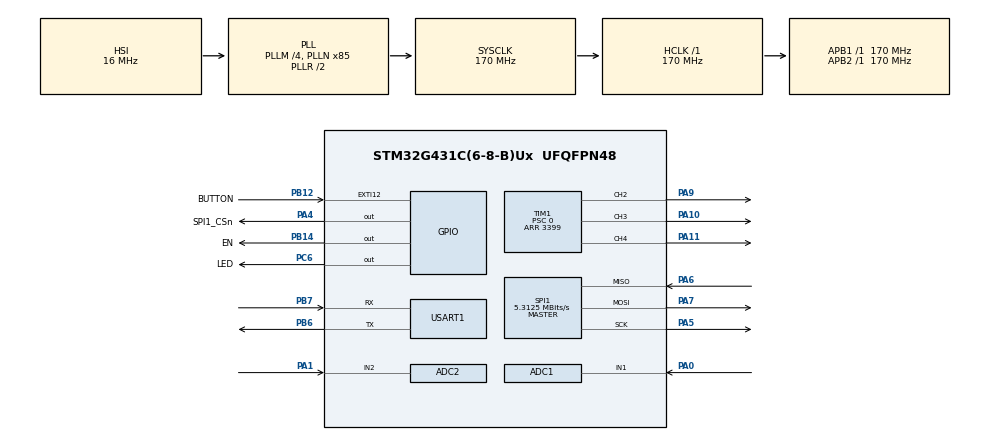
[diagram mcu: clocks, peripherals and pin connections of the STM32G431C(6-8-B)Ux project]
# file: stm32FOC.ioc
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ADC1.Channel-0\#ChannelRegularConversion=ADC_CHANNEL_1
ADC1.ContinuousConvMode=ENABLE
ADC1.DMAContinuousRequests=ENABLE
ADC1.NbrOfConversionFlag=1
ADC1.OffsetNumber-0\#ChannelRegularConversion=ADC_OFFSET_NONE
ADC1.Rank-0\#ChannelRegularConversion=1
ADC1.SamplingTime-0\#ChannelRegularConversion=ADC_SAMPLETIME_2CYCLES_5
ADC1.master=1
ADC2.Channel-0\#ChannelRegularConversion=ADC_CHANNEL_2
ADC2.ContinuousConvMode=ENABLE
ADC2.DMAContinuousRequests=ENABLE
ADC2.NbrOfConversionFlag=1
ADC2.OffsetNumber-0\#ChannelRegularConversion=ADC_OFFSET_NONE
ADC2.Rank-0\#ChannelRegularConversion=1
ADC2.SamplingTime-0\#ChannelRegularConversion=ADC_SAMPLETIME_2CYCLES_5
Dma.ADC1.3.Direction=DMA_PERIPH_TO_MEMORY
Dma.ADC1.3.EventEnable=DISABLE
Dma.ADC1.3.Instance=DMA1_Channel5
Dma.ADC1.3.MemDataAlignment=DMA_MDATAALIGN_HALFWORD
Dma.ADC1.3.MemInc=DMA_MINC_ENABLE
Dma.ADC1.3.Mode=DMA_CIRCULAR
Dma.ADC1.3.PeriphDataAlignment=DMA_PDATAALIGN_HALFWORD
Dma.ADC1.3.PeriphInc=DMA_PINC_DISABLE
Dma.ADC1.3.Polarity=HAL_DMAMUX_REQ_GEN_RISING
Dma.ADC1.3.Priority=DMA_PRIORITY_HIGH
Dma.ADC1.3.RequestNumber=1
Dma.ADC1.3.SignalID=NONE
Dma.ADC1.3.SyncEnable=DISABLE
Dma.ADC1.3.SyncPolarity=HAL_DMAMUX_SYNC_NO_EVENT
Dma.ADC1.3.SyncRequestNumber=1
Dma.ADC1.3.SyncSignalID=NONE
Dma.ADC2.2.Direction=DMA_PERIPH_TO_MEMORY
Dma.ADC2.2.EventEnable=DISABLE
Dma.ADC2.2.Instance=DMA1_Channel4
Dma.ADC2.2.MemDataAlignment=DMA_MDATAALIGN_HALFWORD
Dma.ADC2.2.MemInc=DMA_MINC_ENABLE
Dma.ADC2.2.Mode=DMA_CIRCULAR
Dma.ADC2.2.PeriphDataAlignment=DMA_PDATAALIGN_HALFWORD
Dma.ADC2.2.PeriphInc=DMA_PINC_DISABLE
Dma.ADC2.2.Polarity=HAL_DMAMUX_REQ_GEN_RISING
Dma.ADC2.2.Priority=DMA_PRIORITY_HIGH
Dma.ADC2.2.RequestNumber=1
Dma.ADC2.2.SignalID=NONE
Dma.ADC2.2.SyncEnable=DISABLE
Dma.ADC2.2.SyncPolarity=HAL_DMAMUX_SYNC_NO_EVENT
Dma.ADC2.2.SyncRequestNumber=1
Dma.ADC2.2.SyncSignalID=NONE
Dma.Request0=USART1_RX
Dma.Request1=USART1_TX
Dma.Request2=ADC2
Dma.Request3=ADC1
Dma.USART1_RX.0.Direction=DMA_PERIPH_TO_MEMORY
Dma.USART1_RX.0.EventEnable=DISABLE
Dma.USART1_RX.0.Instance=DMA1_Channel1
Dma.USART1_RX.0.MemDataAlignment=DMA_MDATAALIGN_BYTE
Dma.USART1_RX.0.MemInc=DMA_MINC_ENABLE
Dma.USART1_RX.0.Mode=DMA_NORMAL
Dma.USART1_RX.0.PeriphDataAlignment=DMA_PDATAALIGN_BYTE
Dma.USART1_RX.0.PeriphInc=DMA_PINC_DISABLE
Dma.USART1_RX.0.Polarity=HAL_DMAMUX_REQ_GEN_RISING
Dma.USART1_RX.0.Priority=DMA_PRIORITY_LOW
Dma.USART1_RX.0.RequestNumber=1
Dma.USART1_RX.0.SignalID=NONE
Dma.USART1_RX.0.SyncEnable=DISABLE
Dma.USART1_RX.0.SyncPolarity=HAL_DMAMUX_SYNC_NO_EVENT
Dma.USART1_RX.0.SyncRequestNumber=1
Dma.USART1_RX.0.SyncSignalID=NONE
Dma.USART1_TX.1.Direction=DMA_MEMORY_TO_PERIPH
Dma.USART1_TX.1.EventEnable=DISABLE
Dma.USART1_TX.1.Instance=DMA1_Channel2
Dma.USART1_TX.1.MemDataAlignment=DMA_MDATAALIGN_BYTE
Dma.USART1_TX.1.MemInc=DMA_MINC_ENABLE
Dma.USART1_TX.1.Mode=DMA_NORMAL
Dma.USART1_TX.1.PeriphDataAlignment=DMA_PDATAALIGN_BYTE
Dma.USART1_TX.1.PeriphInc=DMA_PINC_DISABLE
Dma.USART1_TX.1.Polarity=HAL_DMAMUX_REQ_GEN_RISING
Dma.USART1_TX.1.Priority=DMA_PRIORITY_LOW
Dma.USART1_TX.1.RequestNumber=1
Dma.USART1_TX.1.SignalID=NONE
Dma.USART1_TX.1.SyncEnable=ENABLE
Dma.USART1_TX.1.SyncPolarity=HAL_DMAMUX_SYNC_RISING
Dma.USART1_TX.1.SyncRequestNumber=1
Dma.USART1_TX.1.SyncSignalID=NONE
Mcu.Family=STM32G4
Mcu.Name=STM32G431C(6-8-B)Ux
Mcu.Package=UFQFPN48
NVIC.ADC1_2_IRQn=true\:0\:0\:false\:false\:true\:true\:true\:true
NVIC.DMA1_Channel1_IRQn=true\:0\:0\:false\:false\:true\:false\:true\:true
NVIC.DMA1_Channel2_IRQn=true\:0\:0\:false\:false\:true\:false\:true\:true
NVIC.DMAMUX_OVR_IRQn=true\:0\:0\:false\:false\:true\:false\:true\:true
NVIC.EXTI15_10_IRQn=true\:0\:0\:false\:false\:true\:true\:true\:true
NVIC.PriorityGroup=NVIC_PRIORITYGROUP_4
NVIC.TIM2_IRQn=true\:0\:0\:false\:false\:true\:true\:true\:true
NVIC.TIM3_IRQn=true\:0\:0\:false\:false\:true\:true\:true\:true
NVIC.USART1_IRQn=true\:0\:0\:false\:false\:true\:true\:true\:true
PA0.Mode=IN1-Single-Ended
PA0.Signal=ADC1_IN1
PA1.Mode=IN2-Single-Ended
PA1.Signal=ADC2_IN2
PA10.Signal=S_TIM1_CH3
PA11.Signal=S_TIM1_CH4
PA4.GPIO_Label=SPI1_CSn
PA4.GPIO_PuPd=GPIO_NOPULL
PA4.GPIO_Speed=GPIO_SPEED_FREQ_MEDIUM
PA4.PinState=GPIO_PIN_RESET
PA4.Signal=GPIO_Output
PA5.Mode=Full_Duplex_Master
PA5.Signal=SPI1_SCK
PA6.Mode=Full_Duplex_Master
PA6.Signal=SPI1_MISO
PA7.Mode=Full_Duplex_Master
PA7.Signal=SPI1_MOSI
PA9.Signal=S_TIM1_CH2
PB12.GPIO_Label=BUTTON
PB12.GPIO_ModeDefaultEXTI=GPIO_MODE_IT_FALLING
PB12.GPIO_PuPd=GPIO_PULLUP
PB12.Signal=GPXTI12
PB14.GPIO_Label=EN
PB14.Signal=GPIO_Output
PB6.Mode=Asynchronous
PB6.Signal=USART1_TX
PB7.Mode=Asynchronous
PB7.Signal=USART1_RX
PC6.GPIO_Label=LED
PC6.Signal=GPIO_Output
PF0-OSC_IN.Mode=HSE-External-Oscillator
PF0-OSC_IN.Signal=RCC_OSC_IN
PF1-OSC_OUT.Mode=HSE-External-Oscillator
PF1-OSC_OUT.Signal=RCC_OSC_OUT
ProjectManager.HeapSize=0x200
ProjectManager.StackSize=0x400
ProjectManager.TargetToolchain=STM32CubeIDE
RCC.ADC12Freq_Value=170000000
RCC.AHBFreq_Value=170000000
RCC.APB1Freq_Value=170000000
RCC.APB1TimFreq_Value=170000000
RCC.APB2Freq_Value=170000000
RCC.APB2TimFreq_Value=170000000
RCC.CortexFreq_Value=170000000
RCC.EXTERNAL_CLOCK_VALUE=12288000
RCC.HCLKFreq_Value=170000000
RCC.HSE_VALUE=8000000
RCC.HSI48_VALUE=48000000
RCC.HSI_VALUE=16000000
RCC.LSE_VALUE=32768
RCC.PLLM=RCC_PLLM_DIV4
RCC.PLLN=85
RCC.SYSCLKFreq_VALUE=170000000
RCC.SYSCLKSource=RCC_SYSCLKSOURCE_PLLCLK
RCC.USBFreq_Value=170000000
RCC.VCOOutputFreq_Value=340000000
SH.S_TIM1_CH2.0=TIM1_CH2,PWM Generation2 CH2
SH.S_TIM1_CH3.0=TIM1_CH3,PWM Generation3 CH3
SH.S_TIM1_CH4.0=TIM1_CH4,PWM Generation4 CH4
SPI1.BaudRatePrescaler=SPI_BAUDRATEPRESCALER_32
SPI1.CLKPhase=SPI_PHASE_2EDGE
SPI1.CalculateBaudRate=5.3125 MBits/s
SPI1.DataSize=SPI_DATASIZE_16BIT
SPI1.Direction=SPI_DIRECTION_2LINES
SPI1.Mode=SPI_MODE_MASTER
SPI1.VirtualType=VM_MASTER
TIM1.Channel-PWM\ Generation2\ CH2=TIM_CHANNEL_2
TIM1.Channel-PWM\ Generation3\ CH3=TIM_CHANNEL_3
TIM1.Channel-PWM\ Generation4\ CH4=TIM_CHANNEL_4
TIM1.CounterMode=TIM_COUNTERMODE_CENTERALIGNED1
TIM1.PeriodNoDither=3399
TIM1.Prescaler=0
TIM1.PulseNoDither_2=3400
TIM1.PulseNoDither_3=3400
TIM1.RepetitionCounter=100
TIM2.PeriodNoDither=99
TIM2.Prescaler=16
TIM3.PeriodNoDither=2999
TIM3.Prescaler=13399
USART1.ClockPrescaler=PRESCALER_DIV1
USART1.FIFOMode=FIFOMODE_DISABLE
USART1.RXFIFOThreshold=RXFIFO_THRESHOLD_1EIGHTHFULL
USART1.TXFIFOThreshold=TXFIFO_THRESHOLD_1EIGHTHFULL
USART1.VirtualMode-Asynchronous=VM_ASYNC
VP_CORDIC_VS_CORDIC.Mode=CORDIC_Activate
VP_SYS_VS_DBSignals.Mode=DisableDeadBatterySignals
VP_TIM1_VS_ClockSourceINT.Mode=Internal
VP_TIM2_VS_ClockSourceINT.Mode=Internal
VP_TIM3_VS_ClockSourceINT.Mode=Internal
board=custom

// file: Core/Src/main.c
/* USER CODE BEGIN Header */
/**
  ******************************************************************************
  * @file           : main.c
  * @brief          : Main program body
  ******************************************************************************
  * @attention
  *
  * Copyright (c) 2024 STMicroelectronics.
  * All rights reserved.
  *
  * This software is licensed under terms that can be found in the LICENSE file
  * in the root directory of this software component.
  * If no LICENSE file comes with this software, it is provided AS-IS.
  *
  ******************************************************************************
  */
/* USER CODE END Header */
#include "main.h"

/* USER CODE BEGIN Includes */
#include "FOC.h"
/* USER CODE END Includes */

ADC_HandleTypeDef hadc1;
ADC_HandleTypeDef hadc2;
DMA_HandleTypeDef hdma_adc1;
DMA_HandleTypeDef hdma_adc2;

CORDIC_HandleTypeDef hcordic;

SPI_HandleTypeDef hspi1;

TIM_HandleTypeDef htim1;
TIM_HandleTypeDef htim2;
TIM_HandleTypeDef htim3;

UART_HandleTypeDef huart1;
DMA_HandleTypeDef hdma_usart1_rx;
DMA_HandleTypeDef hdma_usart1_tx;

void SystemClock_Config(void);
static void MX_GPIO_Init(void);
static void MX_DMA_Init(void);
static void MX_USART1_UART_Init(void);
static void MX_TIM1_Init(void);
static void MX_TIM2_Init(void);
static void MX_ADC1_Init(void);
static void MX_ADC2_Init(void);
static void MX_TIM3_Init(void);
static void MX_CORDIC_Init(void);
static void MX_SPI1_Init(void);

/* USER CODE BEGIN 0 */
uint32_t FLAG = 0;
uint32_t UART_FLAG = 0;
uint32_t UART_i = 0;
uint32_t BUT_FLAG = 0;
HAL_StatusTypeDef st;

struct Motor m;
struct SentData sentData;
struct RefData refData;
/* USER CODE END 0 */

int main(void)
{

  /* MCU Configuration--------------------------------------------------------*/

  /* Reset of all peripherals, Initializes the Flash interface and the Systick. */
  HAL_Init();

  /* Configure the system clock */
  SystemClock_Config();

  /* Initialize all configured peripherals */
  MX_GPIO_Init();
  MX_DMA_Init();
  MX_USART1_UART_Init();
  MX_TIM1_Init();
  MX_TIM2_Init();
  MX_ADC1_Init();
  MX_ADC2_Init();
  MX_TIM3_Init();
  MX_CORDIC_Init();
  MX_SPI1_Init();
  /* USER CODE BEGIN 2 */
  sentData.header = *(int32_t*)"XXXX";
  sentData.terminator = *(int32_t*)"EEEE";

  HAL_GPIO_WritePin(EN_GPIO_Port, EN_Pin, 1);

  HAL_TIM_Base_Start_IT(&htim2);
  HAL_TIM_PWM_Start(&htim1, TIM_CHANNEL_2);
  HAL_TIM_PWM_Start(&htim1, TIM_CHANNEL_3);
  HAL_TIM_PWM_Start(&htim1, TIM_CHANNEL_4);

  st = HAL_ADC_Start_DMA(&hadc1, (uint32_t *)(m.adcData), 1);
  st = HAL_ADC_Start_DMA(&hadc2, (uint32_t *)(m.adcData+1), 1);
  InitMotor(&m, &hcordic);
  /* USER CODE END 2 */

  /* Infinite loop */
  /* USER CODE BEGIN WHILE */
  while (1)
  {
	if(FLAG){
		mainLoop(&m);
		FLAG = 0;
	}
	if(UART_FLAG){
		sendByUart(&m, &sentData);      // getByUart(&m, &refData);
		UART_FLAG = 0;
	}
	if(BUT_FLAG){
		HAL_GPIO_TogglePin(LED_GPIO_Port, LED_Pin);
		changeAngle(&m);
		BUT_FLAG = 0;
	}
    /* USER CODE END WHILE */

  }
}

void SystemClock_Config(void)
{
  RCC_OscInitTypeDef RCC_OscInitStruct = {0};
  RCC_ClkInitTypeDef RCC_ClkInitStruct = {0};

  /** Configure the main internal regulator output voltage
  */
  HAL_PWREx_ControlVoltageScaling(PWR_REGULATOR_VOLTAGE_SCALE1_BOOST);

  /** Initializes the RCC Oscillators according to the specified parameters
  * in the RCC_OscInitTypeDef structure.
  */
  RCC_OscInitStruct.OscillatorType = RCC_OSCILLATORTYPE_HSI;
  RCC_OscInitStruct.HSIState = RCC_HSI_ON;
  RCC_OscInitStruct.HSICalibrationValue = RCC_HSICALIBRATION_DEFAULT;
  RCC_OscInitStruct.PLL.PLLState = RCC_PLL_ON;
  RCC_OscInitStruct.PLL.PLLSource = RCC_PLLSOURCE_HSI;
  RCC_OscInitStruct.PLL.PLLM = RCC_PLLM_DIV4;
  RCC_OscInitStruct.PLL.PLLN = 85;
  RCC_OscInitStruct.PLL.PLLP = RCC_PLLP_DIV2;
  RCC_OscInitStruct.PLL.PLLQ = RCC_PLLQ_DIV2;
  RCC_OscInitStruct.PLL.PLLR = RCC_PLLR_DIV2;
  if (HAL_RCC_OscConfig(&RCC_OscInitStruct) != HAL_OK)
  {
    Error_Handler();
  }

  /** Initializes the CPU, AHB and APB buses clocks
  */
  RCC_ClkInitStruct.ClockType = RCC_CLOCKTYPE_HCLK|RCC_CLOCKTYPE_SYSCLK
                              |RCC_CLOCKTYPE_PCLK1|RCC_CLOCKTYPE_PCLK2;
  RCC_ClkInitStruct.SYSCLKSource = RCC_SYSCLKSOURCE_PLLCLK;
  RCC_ClkInitStruct.AHBCLKDivider = RCC_SYSCLK_DIV1;
  RCC_ClkInitStruct.APB1CLKDivider = RCC_HCLK_DIV1;
  RCC_ClkInitStruct.APB2CLKDivider = RCC_HCLK_DIV1;

  if (HAL_RCC_ClockConfig(&RCC_ClkInitStruct, FLASH_LATENCY_4) != HAL_OK)
  {
    Error_Handler();
  }
}

static void MX_ADC1_Init(void)
{

  ADC_MultiModeTypeDef multimode = {0};
  ADC_ChannelConfTypeDef sConfig = {0};

  /** Common config
  */
  hadc1.Instance = ADC1;
  hadc1.Init.ClockPrescaler = ADC_CLOCK_SYNC_PCLK_DIV4;
  hadc1.Init.Resolution = ADC_RESOLUTION_12B;
  hadc1.Init.DataAlign = ADC_DATAALIGN_RIGHT;
  hadc1.Init.GainCompensation = 0;
  hadc1.Init.ScanConvMode = ADC_SCAN_DISABLE;
  hadc1.Init.EOCSelection = ADC_EOC_SINGLE_CONV;
  hadc1.Init.LowPowerAutoWait = DISABLE;
  hadc1.Init.ContinuousConvMode = ENABLE;
  hadc1.Init.NbrOfConversion = 1;
  hadc1.Init.DiscontinuousConvMode = DISABLE;
  hadc1.Init.ExternalTrigConv = ADC_SOFTWARE_START;
  hadc1.Init.ExternalTrigConvEdge = ADC_EXTERNALTRIGCONVEDGE_NONE;
  hadc1.Init.DMAContinuousRequests = ENABLE;
  hadc1.Init.Overrun = ADC_OVR_DATA_PRESERVED;
  hadc1.Init.OversamplingMode = DISABLE;
  if (HAL_ADC_Init(&hadc1) != HAL_OK)
  {
    Error_Handler();
  }

  /** Configure the ADC multi-mode
  */
  multimode.Mode = ADC_MODE_INDEPENDENT;
  if (HAL_ADCEx_MultiModeConfigChannel(&hadc1, &multimode) != HAL_OK)
  {
    Error_Handler();
  }

  /** Configure Regular Channel
  */
  sConfig.Channel = ADC_CHANNEL_1;
  sConfig.Rank = ADC_REGULAR_RANK_1;
  sConfig.SamplingTime = ADC_SAMPLETIME_2CYCLES_5;
  sConfig.SingleDiff = ADC_SINGLE_ENDED;
  sConfig.OffsetNumber = ADC_OFFSET_NONE;
  sConfig.Offset = 0;
  if (HAL_ADC_ConfigChannel(&hadc1, &sConfig) != HAL_OK)
  {
    Error_Handler();
  }

}

static void MX_ADC2_Init(void)
{

  ADC_ChannelConfTypeDef sConfig = {0};

  /** Common config
  */
  hadc2.Instance = ADC2;
  hadc2.Init.ClockPrescaler = ADC_CLOCK_SYNC_PCLK_DIV4;
  hadc2.Init.Resolution = ADC_RESOLUTION_12B;
  hadc2.Init.DataAlign = ADC_DATAALIGN_RIGHT;
  hadc2.Init.GainCompensation = 0;
  hadc2.Init.ScanConvMode = ADC_SCAN_DISABLE;
  hadc2.Init.EOCSelection = ADC_EOC_SINGLE_CONV;
  hadc2.Init.LowPowerAutoWait = DISABLE;
  hadc2.Init.ContinuousConvMode = ENABLE;
  hadc2.Init.NbrOfConversion = 1;
  hadc2.Init.DiscontinuousConvMode = DISABLE;
  hadc2.Init.ExternalTrigConv = ADC_SOFTWARE_START;
  hadc2.Init.ExternalTrigConvEdge = ADC_EXTERNALTRIGCONVEDGE_NONE;
  hadc2.Init.DMAContinuousRequests = ENABLE;
  hadc2.Init.Overrun = ADC_OVR_DATA_PRESERVED;
  hadc2.Init.OversamplingMode = DISABLE;
  if (HAL_ADC_Init(&hadc2) != HAL_OK)
  {
    Error_Handler();
  }

  /** Configure Regular Channel
  */
  sConfig.Channel = ADC_CHANNEL_2;
  sConfig.Rank = ADC_REGULAR_RANK_1;
  sConfig.SamplingTime = ADC_SAMPLETIME_2CYCLES_5;
  sConfig.SingleDiff = ADC_SINGLE_ENDED;
  sConfig.OffsetNumber = ADC_OFFSET_NONE;
  sConfig.Offset = 0;
  if (HAL_ADC_ConfigChannel(&hadc2, &sConfig) != HAL_OK)
  {
    Error_Handler();
  }

}

static void MX_CORDIC_Init(void)
{

  hcordic.Instance = CORDIC;
  if (HAL_CORDIC_Init(&hcordic) != HAL_OK)
  {
    Error_Handler();
  }

}

static void MX_SPI1_Init(void)
{

  /* SPI1 parameter configuration*/
  hspi1.Instance = SPI1;
  hspi1.Init.Mode = SPI_MODE_MASTER;
  hspi1.Init.Direction = SPI_DIRECTION_2LINES;
  hspi1.Init.DataSize = SPI_DATASIZE_16BIT;
  hspi1.Init.CLKPolarity = SPI_POLARITY_LOW;
  hspi1.Init.CLKPhase = SPI_PHASE_2EDGE;
  hspi1.Init.NSS = SPI_NSS_SOFT;
  hspi1.Init.BaudRatePrescaler = SPI_BAUDRATEPRESCALER_32;
  hspi1.Init.FirstBit = SPI_FIRSTBIT_MSB;
  hspi1.Init.TIMode = SPI_TIMODE_DISABLE;
  hspi1.Init.CRCCalculation = SPI_CRCCALCULATION_DISABLE;
  hspi1.Init.CRCPolynomial = 7;
  hspi1.Init.CRCLength = SPI_CRC_LENGTH_DATASIZE;
  hspi1.Init.NSSPMode = SPI_NSS_PULSE_DISABLE;
  if (HAL_SPI_Init(&hspi1) != HAL_OK)
  {
    Error_Handler();
  }

}

static void MX_TIM1_Init(void)
{

  TIM_ClockConfigTypeDef sClockSourceConfig = {0};
  TIM_MasterConfigTypeDef sMasterConfig = {0};
  TIM_OC_InitTypeDef sConfigOC = {0};
  TIM_BreakDeadTimeConfigTypeDef sBreakDeadTimeConfig = {0};

  htim1.Instance = TIM1;
  htim1.Init.Prescaler = 0;
  htim1.Init.CounterMode = TIM_COUNTERMODE_CENTERALIGNED1;
  htim1.Init.Period = 3399;
  htim1.Init.ClockDivision = TIM_CLOCKDIVISION_DIV1;
  htim1.Init.RepetitionCounter = 100;
  htim1.Init.AutoReloadPreload = TIM_AUTORELOAD_PRELOAD_DISABLE;
  if (HAL_TIM_Base_Init(&htim1) != HAL_OK)
  {
    Error_Handler();
  }
  sClockSourceConfig.ClockSource = TIM_CLOCKSOURCE_INTERNAL;
  if (HAL_TIM_ConfigClockSource(&htim1, &sClockSourceConfig) != HAL_OK)
  {
    Error_Handler();
  }
  if (HAL_TIM_PWM_Init(&htim1) != HAL_OK)
  {
    Error_Handler();
  }
  sMasterConfig.MasterOutputTrigger = TIM_TRGO_RESET;
  sMasterConfig.MasterOutputTrigger2 = TIM_TRGO2_RESET;
  sMasterConfig.MasterSlaveMode = TIM_MASTERSLAVEMODE_DISABLE;
  if (HAL_TIMEx_MasterConfigSynchronization(&htim1, &sMasterConfig) != HAL_OK)
  {
    Error_Handler();
  }
  sConfigOC.OCMode = TIM_OCMODE_PWM1;
  sConfigOC.Pulse = 3400;
  sConfigOC.OCPolarity = TIM_OCPOLARITY_HIGH;
  sConfigOC.OCNPolarity = TIM_OCNPOLARITY_HIGH;
  sConfigOC.OCFastMode = TIM_OCFAST_DISABLE;
  sConfigOC.OCIdleState = TIM_OCIDLESTATE_RESET;
  sConfigOC.OCNIdleState = TIM_OCNIDLESTATE_RESET;
  if (HAL_TIM_PWM_ConfigChannel(&htim1, &sConfigOC, TIM_CHANNEL_2) != HAL_OK)
  {
    Error_Handler();
  }
  if (HAL_TIM_PWM_ConfigChannel(&htim1, &sConfigOC, TIM_CHANNEL_3) != HAL_OK)
  {
    Error_Handler();
  }
  sConfigOC.Pulse = 0;
  if (HAL_TIM_PWM_ConfigChannel(&htim1, &sConfigOC, TIM_CHANNEL_4) != HAL_OK)
  {
    Error_Handler();
  }
  sBreakDeadTimeConfig.OffStateRunMode = TIM_OSSR_DISABLE;
  sBreakDeadTimeConfig.OffStateIDLEMode = TIM_OSSI_DISABLE;
  sBreakDeadTimeConfig.LockLevel = TIM_LOCKLEVEL_OFF;
  sBreakDeadTimeConfig.DeadTime = 0;
  sBreakDeadTimeConfig.BreakState = TIM_BREAK_DISABLE;
  sBreakDeadTimeConfig.BreakPolarity = TIM_BREAKPOLARITY_HIGH;
  sBreakDeadTimeConfig.BreakFilter = 0;
  sBreakDeadTimeConfig.BreakAFMode = TIM_BREAK_AFMODE_INPUT;
  sBreakDeadTimeConfig.Break2State = TIM_BREAK2_DISABLE;
  sBreakDeadTimeConfig.Break2Polarity = TIM_BREAK2POLARITY_HIGH;
  sBreakDeadTimeConfig.Break2Filter = 0;
  sBreakDeadTimeConfig.Break2AFMode = TIM_BREAK_AFMODE_INPUT;
  sBreakDeadTimeConfig.AutomaticOutput = TIM_AUTOMATICOUTPUT_DISABLE;
  if (HAL_TIMEx_ConfigBreakDeadTime(&htim1, &sBreakDeadTimeConfig) != HAL_OK)
  {
    Error_Handler();
  }
  HAL_TIM_MspPostInit(&htim1);

}

static void MX_TIM2_Init(void)
{

  TIM_ClockConfigTypeDef sClockSourceConfig = {0};
  TIM_MasterConfigTypeDef sMasterConfig = {0};

  htim2.Instance = TIM2;
  htim2.Init.Prescaler = 16;
  htim2.Init.CounterMode = TIM_COUNTERMODE_UP;
  htim2.Init.Period = 99;
  htim2.Init.ClockDivision = TIM_CLOCKDIVISION_DIV1;
  htim2.Init.AutoReloadPreload = TIM_AUTORELOAD_PRELOAD_DISABLE;
  if (HAL_TIM_Base_Init(&htim2) != HAL_OK)
  {
    Error_Handler();
  }
  sClockSourceConfig.ClockSource = TIM_CLOCKSOURCE_INTERNAL;
  if (HAL_TIM_ConfigClockSource(&htim2, &sClockSourceConfig) != HAL_OK)
  {
    Error_Handler();
  }
  sMasterConfig.MasterOutputTrigger = TIM_TRGO_RESET;
  sMasterConfig.MasterSlaveMode = TIM_MASTERSLAVEMODE_DISABLE;
  if (HAL_TIMEx_MasterConfigSynchronization(&htim2, &sMasterConfig) != HAL_OK)
  {
    Error_Handler();
  }

}

static void MX_TIM3_Init(void)
{

  TIM_ClockConfigTypeDef sClockSourceConfig = {0};
  TIM_MasterConfigTypeDef sMasterConfig = {0};

  htim3.Instance = TIM3;
  htim3.Init.Prescaler = 13399;
  htim3.Init.CounterMode = TIM_COUNTERMODE_UP;
  htim3.Init.Period = 2999;
  htim3.Init.ClockDivision = TIM_CLOCKDIVISION_DIV1;
  htim3.Init.AutoReloadPreload = TIM_AUTORELOAD_PRELOAD_DISABLE;
  if (HAL_TIM_Base_Init(&htim3) != HAL_OK)
  {
    Error_Handler();
  }
  sClockSourceConfig.ClockSource = TIM_CLOCKSOURCE_INTERNAL;
  if (HAL_TIM_ConfigClockSource(&htim3, &sClockSourceConfig) != HAL_OK)
  {
    Error_Handler();
  }
  sMasterConfig.MasterOutputTrigger = TIM_TRGO_RESET;
  sMasterConfig.MasterSlaveMode = TIM_MASTERSLAVEMODE_DISABLE;
  if (HAL_TIMEx_MasterConfigSynchronization(&htim3, &sMasterConfig) != HAL_OK)
  {
    Error_Handler();
  }

}

static void MX_USART1_UART_Init(void)
{

  huart1.Instance = USART1;
  huart1.Init.BaudRate = 115200;
  huart1.Init.WordLength = UART_WORDLENGTH_8B;
  huart1.Init.StopBits = UART_STOPBITS_1;
  huart1.Init.Parity = UART_PARITY_NONE;
  huart1.Init.Mode = UART_MODE_TX_RX;
  huart1.Init.HwFlowCtl = UART_HWCONTROL_NONE;
  huart1.Init.OverSampling = UART_OVERSAMPLING_16;
  huart1.Init.OneBitSampling = UART_ONE_BIT_SAMPLE_DISABLE;
  huart1.Init.ClockPrescaler = UART_PRESCALER_DIV1;
  huart1.AdvancedInit.AdvFeatureInit = UART_ADVFEATURE_NO_INIT;
  if (HAL_UART_Init(&huart1) != HAL_OK)
  {
    Error_Handler();
  }
  if (HAL_UARTEx_SetTxFifoThreshold(&huart1, UART_TXFIFO_THRESHOLD_1_8) != HAL_OK)
  {
    Error_Handler();
  }
  if (HAL_UARTEx_SetRxFifoThreshold(&huart1, UART_RXFIFO_THRESHOLD_1_8) != HAL_OK)
  {
    Error_Handler();
  }
  if (HAL_UARTEx_DisableFifoMode(&huart1) != HAL_OK)
  {
    Error_Handler();
  }

}

static void MX_DMA_Init(void)
{

  /* DMA controller clock enable */
  __HAL_RCC_DMAMUX1_CLK_ENABLE();
  __HAL_RCC_DMA1_CLK_ENABLE();

  /* DMA interrupt init */
  /* DMA1_Channel1_IRQn interrupt configuration */
  HAL_NVIC_SetPriority(DMA1_Channel1_IRQn, 0, 0);
  HAL_NVIC_EnableIRQ(DMA1_Channel1_IRQn);
  /* DMA1_Channel2_IRQn interrupt configuration */
  HAL_NVIC_SetPriority(DMA1_Channel2_IRQn, 0, 0);
  HAL_NVIC_EnableIRQ(DMA1_Channel2_IRQn);
  /* DMAMUX_OVR_IRQn interrupt configuration */
  HAL_NVIC_SetPriority(DMAMUX_OVR_IRQn, 0, 0);
  HAL_NVIC_EnableIRQ(DMAMUX_OVR_IRQn);

}

static void MX_GPIO_Init(void)
{
  GPIO_InitTypeDef GPIO_InitStruct = {0};

  /* GPIO Ports Clock Enable */
  __HAL_RCC_GPIOF_CLK_ENABLE();
  __HAL_RCC_GPIOA_CLK_ENABLE();
  __HAL_RCC_GPIOB_CLK_ENABLE();
  __HAL_RCC_GPIOC_CLK_ENABLE();

  /*Configure GPIO pin Output Level */
  HAL_GPIO_WritePin(SPI1_CSn_GPIO_Port, SPI1_CSn_Pin, GPIO_PIN_RESET);

  /*Configure GPIO pin Output Level */
  HAL_GPIO_WritePin(EN_GPIO_Port, EN_Pin, GPIO_PIN_RESET);

  /*Configure GPIO pin Output Level */
  HAL_GPIO_WritePin(LED_GPIO_Port, LED_Pin, GPIO_PIN_RESET);

  /*Configure GPIO pin : SPI1_CSn_Pin */
  GPIO_InitStruct.Pin = SPI1_CSn_Pin;
  GPIO_InitStruct.Mode = GPIO_MODE_OUTPUT_PP;
  GPIO_InitStruct.Pull = GPIO_NOPULL;
  GPIO_InitStruct.Speed = GPIO_SPEED_FREQ_MEDIUM;
  HAL_GPIO_Init(SPI1_CSn_GPIO_Port, &GPIO_InitStruct);

  /*Configure GPIO pin : BUTTON_Pin */
  GPIO_InitStruct.Pin = BUTTON_Pin;
  GPIO_InitStruct.Mode = GPIO_MODE_IT_FALLING;
  GPIO_InitStruct.Pull = GPIO_PULLUP;
  HAL_GPIO_Init(BUTTON_GPIO_Port, &GPIO_InitStruct);

  /*Configure GPIO pin : EN_Pin */
  GPIO_InitStruct.Pin = EN_Pin;
  GPIO_InitStruct.Mode = GPIO_MODE_OUTPUT_PP;
  GPIO_InitStruct.Pull = GPIO_NOPULL;
  GPIO_InitStruct.Speed = GPIO_SPEED_FREQ_LOW;
  HAL_GPIO_Init(EN_GPIO_Port, &GPIO_InitStruct);

  /*Configure GPIO pin : LED_Pin */
  GPIO_InitStruct.Pin = LED_Pin;
  GPIO_InitStruct.Mode = GPIO_MODE_OUTPUT_PP;
  GPIO_InitStruct.Pull = GPIO_NOPULL;
  GPIO_InitStruct.Speed = GPIO_SPEED_FREQ_LOW;
  HAL_GPIO_Init(LED_GPIO_Port, &GPIO_InitStruct);

  /* EXTI interrupt init*/
  HAL_NVIC_SetPriority(EXTI15_10_IRQn, 0, 0);
  HAL_NVIC_EnableIRQ(EXTI15_10_IRQn);

}

/* USER CODE BEGIN 4 */
void HAL_TIM_PeriodElapsedCallback(TIM_HandleTypeDef *htim)
{

	if (htim->Instance == TIM2) { // 10 kHz
		FLAG = 1;

		if(UART_i==100){		//100 Hz
			UART_FLAG = 1;
			UART_i = 0;
		}
		else{
			UART_i += 1;
		}

	}
	if (htim->Instance == TIM3 ){ // for a delay after pressing the button (to avoid contact bounce)
		HAL_TIM_Base_Stop_IT(&htim3);
		if( HAL_GPIO_ReadPin(BUTTON_GPIO_Port, BUTTON_Pin) == 0){
			BUT_FLAG = 1;
		}
		__HAL_GPIO_EXTI_CLEAR_IT(BUTTON_Pin);   // clear EXTI_PR (interrupt bit)
		NVIC_ClearPendingIRQ(EXTI15_10_IRQn);   // clear NVIC_ICPRx (queue bit)
		HAL_NVIC_EnableIRQ(EXTI15_10_IRQn);     // enable external interrupt
	}
}

// interrupt at the end of ADC data processing
void HAL_ADC_ConvCpltCallback(ADC_HandleTypeDef* hadc)
{
}

void HAL_GPIO_EXTI_Callback(uint16_t GPIO_Pin){
  if (GPIO_Pin == BUTTON_Pin) {
	  HAL_NVIC_DisableIRQ(EXTI15_10_IRQn);
	  __HAL_TIM_CLEAR_FLAG(&htim3, TIM_SR_UIF); // clear flag
	  HAL_TIM_Base_Start_IT(&htim3);
  }
}

/* USER CODE END 4 */

void Error_Handler(void)
{
  __disable_irq();
  while (1)
  {
  }
}
